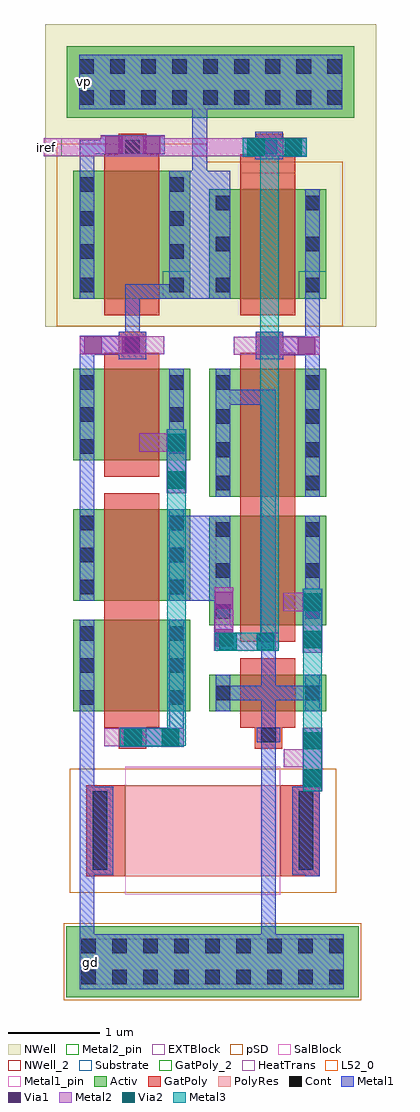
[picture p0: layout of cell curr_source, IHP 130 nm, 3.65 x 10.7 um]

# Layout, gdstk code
from math import pi, radians
import gdstk
lib = gdstk.Library(unit=1e-6, precision=1e-09)
def R(c, l, rs):  # rectangles x0, y0, x1, y1
    for r in rs: c.add(gdstk.rectangle(r[:2], r[2:], *l))
def A(c, l, x, y, w, h, nx, ny, dx, dy):  # array of equal rectangles
    R(c, l, [(x+i*dx, y+j*dy, x+i*dx+w, y+j*dy+h) for i in range(nx) for j in range(ny)])
Activ = (1, 0)
GatPoly = (5, 0)
GatPoly_2 = (5, 2)
Cont = (6, 0)
Metal1 = (8, 0)
Metal1_pin = (8, 2)
Metal2 = (10, 0)
Metal2_pin = (10, 2)
pSD = (14, 0)
Via1 = (19, 0)
SalBlock = (28, 0)
Via2 = (29, 0)
Metal3 = (30, 0)
NWell = (31, 0)
NWell_2 = (31, 2)
Substrate = (40, 0)
HeatTrans = (51, 0)
L52_0 = (52, 0)
EXTBlock = (111, 0)
PolyRes = (128, 0)

via_16 = lib.new_cell('Via$16')
R(via_16, Metal2, [(-0.35,-0.1,0.35,0.1)])
R(via_16, Via2, [(-0.3,-0.095,-0.11,0.095), (0.11,-0.095,0.3,0.095)])
R(via_16, Metal3, [(-0.35,-0.1,0.35,0.1)])

via_17 = lib.new_cell('Via$17')
R(via_17, Metal1, [(-0.35,-0.105,0.35,0.105)])
R(via_17, Metal2, [(-0.35,-0.1,0.35,0.1)])
R(via_17, Via1, [(-0.3,-0.095,-0.11,0.095), (0.11,-0.095,0.3,0.095)])

nmos_6 = lib.new_cell('nmos$6')
R(nmos_6, Activ, [(0,0,0.3,0.3), (0,0,1.28,1.2), (0.98,0,1.28,0.3)])
R(nmos_6, GatPoly, [(0.34,-0.18,0.94,1.38)])
R(nmos_6, GatPoly_2, [(0.34,-0.18,0.94,1.38)])
A(nmos_6, Cont, 0.07, 0.07, 0.16, 0.16, 1, 3, 0, 0.45)
A(nmos_6, Cont, 1.05, 0.07, 0.16, 0.16, 1, 3, 0, 0.45)
R(nmos_6, Metal1, [(0.07,0,0.23,1.2), (1.05,0,1.21,1.2)])
R(nmos_6, Metal1_pin, [(0.07,0,0.23,1.2), (1.05,0,1.21,1.2)])
R(nmos_6, HeatTrans, [(0.34,-0.18,0.94,1.38)])
nmos_6.add(gdstk.Label('nmos', (0.64,0.6), layer=63, texttype=0))
nmos_6.add(gdstk.Label('nmos', (0.64,0.6), layer=51, texttype=0))

via_18 = lib.new_cell('Via$18')
R(via_18, Metal1, [(-0.35,-0.105,0.35,0.105)])
R(via_18, Metal2, [(-0.35,-0.1,0.35,0.1)])
R(via_18, Via1, [(-0.3,-0.095,-0.11,0.095), (0.11,-0.095,0.3,0.095)])

via_19 = lib.new_cell('Via$19')
R(via_19, Metal1, [(-0.35,-0.105,0.35,0.105)])
R(via_19, Metal2, [(-0.35,-0.1,0.35,0.1)])
R(via_19, Via1, [(-0.3,-0.095,-0.11,0.095), (0.11,-0.095,0.3,0.095)])

pmos_1 = lib.new_cell('pmos$1')
R(pmos_1, Activ, [(0,0,0.3,0.3), (0,0,1.28,1.4), (0.98,0,1.28,0.3)])
R(pmos_1, GatPoly, [(0.34,-0.18,0.94,1.58), (0.34,-0.18,0.94,1.58)])
A(pmos_1, Cont, 0.07, 0.07, 0.16, 0.16, 1, 3, 0, 0.365)
A(pmos_1, Cont, 1.05, 0.07, 0.16, 0.16, 1, 3, 0, 0.365)
R(pmos_1, Cont, [(0.07,1.17,0.23,1.33), (1.05,1.17,1.21,1.33)])
R(pmos_1, Metal1, [(0.07,0,0.23,1.4), (0.07,0,0.23,1.4), (1.05,0,1.21,1.4), (1.05,0,1.21,1.4)])
R(pmos_1, pSD, [(-0.18,-0.3,1.46,1.7)])
R(pmos_1, NWell, [(-0.31,-0.31,1.59,1.71)])
R(pmos_1, Substrate, [(0.98,0,1.28,0.3)])
R(pmos_1, HeatTrans, [(0.34,-0.18,0.94,1.58)])
pmos_1.add(gdstk.Label('pmos', (0.64,0.7), layer=63, texttype=0))
pmos_1.add(gdstk.Label('pmos', (0.64,0.7), layer=51, texttype=0))

via_11 = lib.new_cell('Via$11')
R(via_11, Metal1, [(-0.35,-0.105,0.35,0.105)])
R(via_11, Metal2, [(-0.35,-0.1,0.35,0.1)])
R(via_11, Via1, [(-0.3,-0.095,-0.11,0.095), (0.11,-0.095,0.3,0.095)])

nmos_1 = lib.new_cell('nmos$1')
R(nmos_1, Activ, [(0,0,0.3,0.3), (0,0,1.28,1), (0.98,0,1.28,0.3)])
R(nmos_1, GatPoly, [(0.34,-0.18,0.94,1.18)])
R(nmos_1, GatPoly_2, [(0.34,-0.18,0.94,1.18)])
A(nmos_1, Cont, 0.07, 0.07, 0.16, 0.16, 1, 3, 0, 0.35)
A(nmos_1, Cont, 1.05, 0.07, 0.16, 0.16, 1, 3, 0, 0.35)
R(nmos_1, Metal1, [(0.07,0,0.23,1), (1.05,0,1.21,1)])
R(nmos_1, Metal1_pin, [(0.07,0,0.23,1), (1.05,0,1.21,1)])
R(nmos_1, HeatTrans, [(0.34,-0.18,0.94,1.18)])
nmos_1.add(gdstk.Label('nmos', (0.64,0.5), layer=63, texttype=0))
nmos_1.add(gdstk.Label('nmos', (0.64,0.5), layer=51, texttype=0))

via_14 = lib.new_cell('Via$14')
R(via_14, Metal2, [(-0.35,-0.1,0.35,0.1)])
R(via_14, Via2, [(-0.3,-0.095,-0.11,0.095), (0.11,-0.095,0.3,0.095)])
R(via_14, Metal3, [(-0.35,-0.1,0.35,0.1)])

via_21 = lib.new_cell('Via$21')
R(via_21, Metal1, [(-0.35,-0.105,0.35,0.105)])
R(via_21, Metal2, [(-0.35,-0.1,0.35,0.1)])
R(via_21, Via1, [(-0.3,-0.095,-0.11,0.095), (0.11,-0.095,0.3,0.095)])

pmos_3 = lib.new_cell('pmos$3')
R(pmos_3, Activ, [(0,0,0.3,0.3), (0,0,1.28,1.2), (0.98,0,1.28,0.3)])
R(pmos_3, GatPoly, [(0.34,-0.18,0.94,1.38), (0.34,-0.18,0.94,1.38)])
A(pmos_3, Cont, 0.07, 0.07, 0.16, 0.16, 1, 3, 0, 0.45)
A(pmos_3, Cont, 1.05, 0.07, 0.16, 0.16, 1, 3, 0, 0.45)
R(pmos_3, Metal1, [(0.07,0,0.23,1.2), (0.07,0,0.23,1.2), (1.05,0,1.21,1.2), (1.05,0,1.21,1.2)])
R(pmos_3, pSD, [(-0.18,-0.3,1.46,1.5)])
R(pmos_3, NWell, [(-0.31,-0.31,1.59,1.51)])
R(pmos_3, Substrate, [(0.98,0,1.28,0.3)])
R(pmos_3, HeatTrans, [(0.34,-0.18,0.94,1.38)])
pmos_3.add(gdstk.Label('pmos', (0.64,0.6), layer=63, texttype=0))
pmos_3.add(gdstk.Label('pmos', (0.64,0.6), layer=51, texttype=0))

ptap1_1 = lib.new_cell('ptap1$1')
R(ptap1_1, Activ, [(0,0,3.2,0.78)])
A(ptap1_1, Cont, 0.16, 0.14, 0.16, 0.16, 9, 2, 0.34, 0.34)
R(ptap1_1, Metal1, [(0.16,0.09,3.04,0.69), (0.16,0.14,3.04,0.64)])
R(ptap1_1, Metal1_pin, [(0.16,0.14,3.04,0.64)])
R(ptap1_1, pSD, [(-0.03,-0.03,3.23,0.81)])
R(ptap1_1, Substrate, [(0,0,3.2,0.78)])
ptap1_1.add(gdstk.Label('sub!', (1.6,0.01), layer=63, texttype=0))
ptap1_1.add(gdstk.Label('sub!', (1.6,0.01), layer=40, texttype=0))

nmos_2 = lib.new_cell('nmos$2')
R(nmos_2, Activ, [(0,0,0.3,0.3), (0,0,1.28,1.4), (0.98,0,1.28,0.3)])
R(nmos_2, GatPoly, [(0.34,-0.18,0.94,1.58)])
R(nmos_2, GatPoly_2, [(0.34,-0.18,0.94,1.58)])
A(nmos_2, Cont, 0.07, 0.07, 0.16, 0.16, 1, 3, 0, 0.365)
A(nmos_2, Cont, 1.05, 0.07, 0.16, 0.16, 1, 3, 0, 0.365)
R(nmos_2, Cont, [(0.07,1.17,0.23,1.33), (1.05,1.17,1.21,1.33)])
R(nmos_2, Metal1, [(0.07,0,0.23,1.4), (1.05,0,1.21,1.4)])
R(nmos_2, Metal1_pin, [(0.07,0,0.23,1.4), (1.05,0,1.21,1.4)])
R(nmos_2, HeatTrans, [(0.34,-0.18,0.94,1.58)])
nmos_2.add(gdstk.Label('nmos', (0.64,0.7), layer=63, texttype=0))
nmos_2.add(gdstk.Label('nmos', (0.64,0.7), layer=51, texttype=0))

via_12 = lib.new_cell('Via$12')
R(via_12, Metal1, [(-0.35,-0.105,0.35,0.105)])
R(via_12, Metal2, [(-0.35,-0.1,0.35,0.1)])
R(via_12, Via1, [(-0.3,-0.095,-0.11,0.095), (0.11,-0.095,0.3,0.095)])

via_2 = lib.new_cell('Via$2')
R(via_2, GatPoly, [(-0.15,-0.15,0.15,0.15)])
R(via_2, Cont, [(-0.08,-0.08,0.08,0.08)])
R(via_2, Metal1, [(-0.13,-0.08,0.13,0.08)])

nmos_3 = lib.new_cell('nmos$3')
R(nmos_3, Activ, [(0,0,0.3,0.3), (0,0,1.28,0.4), (0.98,0,1.28,0.3)])
R(nmos_3, GatPoly, [(0.34,-0.18,0.94,0.58)])
R(nmos_3, GatPoly_2, [(0.34,-0.18,0.94,0.58)])
R(nmos_3, Cont, [(0.07,0.12,0.23,0.28), (1.05,0.12,1.21,0.28)])
R(nmos_3, Metal1, [(0.07,0,0.23,0.4), (1.05,0,1.21,0.4)])
R(nmos_3, Metal1_pin, [(0.07,0,0.23,0.4), (1.05,0,1.21,0.4)])
R(nmos_3, HeatTrans, [(0.34,-0.18,0.94,0.58)])
nmos_3.add(gdstk.Label('nmos', (0.64,0.2), layer=63, texttype=0))
nmos_3.add(gdstk.Label('nmos', (0.64,0.2), layer=51, texttype=0))

via_15 = lib.new_cell('Via$15')
R(via_15, Metal1, [(-0.35,-0.105,0.35,0.105)])
R(via_15, Metal2, [(-0.35,-0.1,0.35,0.1)])
R(via_15, Via1, [(-0.3,-0.095,-0.11,0.095), (0.11,-0.095,0.3,0.095)])

rppd_1 = lib.new_cell('rppd$1')
R(rppd_1, GatPoly, [(0,-0.43,1,-0.2), (0,-0.2,1,0), (0,1.7,1,1.9), (0,1.9,1,2.13)])
R(rppd_1, Cont, [(0.07,-0.36,0.93,-0.2), (0.07,1.9,0.93,2.06)])
R(rppd_1, Metal1, [(0.02,-0.43,0.98,-0.13), (0.02,1.83,0.98,2.13)])
R(rppd_1, Metal1_pin, [(0.02,-0.43,0.98,-0.13), (0.02,1.83,0.98,2.13)])
R(rppd_1, pSD, [(-0.18,-0.61,1.18,0), (-0.18,0,1.18,1.7), (-0.18,1.7,1.18,2.31)])
R(rppd_1, SalBlock, [(-0.2,0,1.2,1.7)])
R(rppd_1, L52_0, [(0,0,1,1.7)])
R(rppd_1, EXTBlock, [(-0.18,-0.61,1.18,0), (-0.2,0,1.2,1.7), (-0.18,1.7,1.18,2.31)])
R(rppd_1, PolyRes, [(0,0,1,1.7)])
rppd_1.add(gdstk.Label('rppd r=509.364', (0.5,0.85), layer=63, texttype=0))
rppd_1.add(gdstk.Label('rppd', (0.5,0.85), layer=52, texttype=0))

ntap1_1 = lib.new_cell('ntap1$1')
R(ntap1_1, Activ, [(0,0,3.15,0.78)])
A(ntap1_1, Cont, 0.135, 0.14, 0.16, 0.16, 9, 2, 0.34, 0.34)
R(ntap1_1, Metal1, [(0.135,0.09,3.015,0.69)])
R(ntap1_1, Metal1_pin, [(0.135,0.09,3.015,0.69), (0.135,0.14,3.015,0.64)])
R(ntap1_1, NWell, [(-0.24,-0.24,3.39,1.02), (0,0,3.15,0.78)])
R(ntap1_1, NWell_2, [(0,0,3.15,0.78)])
ntap1_1.add(gdstk.Label('well', (1.575,0.01), layer=63, texttype=0))
ntap1_1.add(gdstk.Label('well', (1.575,0.01), layer=31, texttype=0))

via_20 = lib.new_cell('Via$20')
R(via_20, Metal1, [(-0.35,-0.105,0.35,0.105)])
R(via_20, Metal2, [(-0.35,-0.1,0.35,0.1)])
R(via_20, Via1, [(-0.3,-0.095,-0.11,0.095), (0.11,-0.095,0.3,0.095)])

curr_source = lib.new_cell('curr_source')
R(curr_source, GatPoly, [(3.695,6.615,4.295,6.815)])
R(curr_source, Metal1, [(1.935,-1.07,2.305,-0.115), (2.915,1.925,3.585,2.855), (2.365,4.57,2.665,4.87), (3.865,4.57,4.165,4.87), (2.915,5.235,3.585,6.635), (3.86,6.765,4.16,7.065)])
R(curr_source, Metal1_pin, [(1.95,-2.14,2.15,-1.94), (1.95,7.545,2.08,7.675)])
R(curr_source, Metal2, [(3.41,1.375,3.65,1.575)])
R(curr_source, Metal2_pin, [(1.54,6.795,1.74,6.995)])
R(curr_source, NWell, [(1.555,4.925,5.185,8.245)])
curr_source.add(gdstk.FlexPath([(4.485,1.88),(4.485,1.705)], 0.16, ends="flush", simple_path=True, layer=8, datatype=0))  # Metal1
curr_source.add(gdstk.FlexPath([(2.365,6.92),(2.515,6.92)], 0.16, ends="flush", simple_path=True, layer=8, datatype=0))  # Metal1
curr_source.add(gdstk.FlexPath([(4.07,6.895),(4.07,6.895)], 0.16, ends="flush", simple_path=True, layer=8, datatype=0))  # Metal1
curr_source.add(gdstk.FlexPath([(2.725,0.43),(2.725,0.43)], 0.16, ends="flush", simple_path=True, layer=8, datatype=0))  # Metal1
curr_source.add(gdstk.FlexPath([(2.015,-1.53),(2.015,-2.33)], 0.16, ends="flush", simple_path=True, layer=8, datatype=0))  # Metal1
curr_source.add(gdstk.FlexPath([(4.005,-1.68),(4.005,-2.33)], 0.16, ends="flush", simple_path=True, layer=8, datatype=0))  # Metal1
curr_source.add(gdstk.FlexPath([(4.485,0.335),(4.485,-1.095)], 0.16, ends="flush", simple_path=True, layer=8, datatype=0))  # Metal1
curr_source.add(gdstk.FlexPath([(3.995,0.915),(3.585,0.915),(3.585,0.915)], 0.16, ends="flush", simple_path=True, layer=8, datatype=0))  # Metal1
curr_source.add(gdstk.FlexPath([(3.995,0.915),(4.405,0.915)], 0.16, ends="flush", simple_path=True, layer=8, datatype=0))  # Metal1
curr_source.add(gdstk.FlexPath([(2.015,2.925),(2.015,3.465)], 0.16, ends="flush", simple_path=True, layer=8, datatype=0))  # Metal1
curr_source.add(gdstk.FlexPath([(4.005,-0.815),(4.005,-1.775)], 0.16, ends="flush", simple_path=True, layer=8, datatype=0))  # Metal1
curr_source.add(gdstk.FlexPath([(2.015,4.465),(2.015,4.62)], 0.16, ends="flush", simple_path=True, layer=8, datatype=0))  # Metal1
curr_source.add(gdstk.FlexPath([(2.645,0.455),(3.075,0.455)], 0.16, ends="flush", simple_path=True, layer=8, datatype=0))  # Metal1
curr_source.add(gdstk.FlexPath([(3.25,6.635),(3.25,7.315)], 0.16, ends="flush", simple_path=True, layer=8, datatype=0))  # Metal1
curr_source.add(gdstk.FlexPath([(2.995,0.715),(2.995,0.375)], 0.16, ends="flush", simple_path=True, layer=8, datatype=0))  # Metal1
curr_source.add(gdstk.FlexPath([(4.485,4.72),(4.485,4.72)], 0.16, ends="flush", simple_path=True, layer=8, datatype=0))  # Metal1
curr_source.add(gdstk.FlexPath([(2.515,4.725),(2.515,4.725)], 0.16, ends="flush", simple_path=True, layer=8, datatype=0))  # Metal1
curr_source.add(gdstk.FlexPath([(2.015,6.635),(2.015,6.885),(2.015,6.89),(2.015,6.895),(2.385,6.895),(2.385,6.895),(2.385,6.895)], 0.16, ends="flush", simple_path=True, layer=8, datatype=0))  # Metal1
curr_source.add(gdstk.FlexPath([(2.515,5.15),(2.515,5.395)], 0.16, ends="flush", simple_path=True, layer=8, datatype=0))  # Metal1
curr_source.add(gdstk.FlexPath([(4.485,5.235),(4.485,4.48)], 0.16, ends="flush", simple_path=True, layer=8, datatype=0))  # Metal1
curr_source.add(gdstk.FlexPath([(4.485,4.49),(4.485,4.465)], 0.16, ends="flush", simple_path=True, layer=8, datatype=0))  # Metal1
curr_source.add(gdstk.FlexPath([(2.515,4.805),(2.515,5.2)], 0.16, ends="flush", simple_path=True, layer=8, datatype=0))  # Metal1
curr_source.add(gdstk.FlexPath([(3.575,4.155),(4.005,4.155),(4.005,-0.965)], 0.16, ends="flush", simple_path=True, layer=8, datatype=0))  # Metal1
curr_source.add(gdstk.FlexPath([(2.015,0.715),(2.015,-1.725),(2.015,-1.725)], 0.16, ends="flush", simple_path=True, layer=8, datatype=0))  # Metal1
curr_source.add(gdstk.FlexPath([(2.915,5.315),(2.435,5.315)], 0.16, ends="flush", simple_path=True, layer=8, datatype=0))  # Metal1
curr_source.add(gdstk.FlexPath([(3.505,1.655),(3.505,1.575)], 0.16, ends="flush", simple_path=True, layer=8, datatype=0))  # Metal1
curr_source.add(gdstk.FlexPath([(2.995,3.455),(2.995,3.455)], 0.2, ends="flush", simple_path=True, layer=10, datatype=0))  # Metal2
curr_source.add(gdstk.FlexPath([(2.995,3.66),(2.585,3.66)], 0.2, ends="flush", simple_path=True, layer=10, datatype=0))  # Metal2
curr_source.add(gdstk.FlexPath([(4.565,4.72),(3.625,4.72)], 0.2, ends="flush", simple_path=True, layer=10, datatype=0))  # Metal2
curr_source.add(gdstk.FlexPath([(4.485,1.705),(4.485,1.705)], 0.2, ends="flush", simple_path=True, layer=10, datatype=0))  # Metal2
curr_source.add(gdstk.FlexPath([(4.485,0.185),(4.485,0.185)], 0.2, ends="flush", simple_path=True, layer=10, datatype=0))  # Metal2
curr_source.add(gdstk.FlexPath([(4.485,0.2),(4.17,0.2)], 0.2, ends="flush", simple_path=True, layer=10, datatype=0))  # Metal2
curr_source.add(gdstk.FlexPath([(4.485,1.91),(4.165,1.91)], 0.2, ends="flush", simple_path=True, layer=10, datatype=0))  # Metal2
curr_source.add(gdstk.FlexPath([(4.07,6.895),(4.07,6.895)], 0.16, ends="flush", simple_path=True, layer=10, datatype=0))  # Metal2
curr_source.add(gdstk.FlexPath([(2.725,0.43),(2.725,0.43)], 0.2, ends="flush", simple_path=True, layer=10, datatype=0))  # Metal2
curr_source.add(gdstk.FlexPath([(3.065,0.43),(2.205,0.43)], 0.2, ends="flush", simple_path=True, layer=10, datatype=0))  # Metal2
curr_source.add(gdstk.FlexPath([(2.515,4.725),(2.86,4.725)], 0.2, ends="flush", simple_path=True, layer=10, datatype=0))  # Metal2
curr_source.add(gdstk.FlexPath([(4.015,1.475),(3.65,1.475)], 0.2, ends="flush", simple_path=True, layer=10, datatype=0))  # Metal2
curr_source.add(gdstk.FlexPath([(2.515,6.895),(1.54,6.895)], 0.2, ends="flush", simple_path=True, layer=10, datatype=0))  # Metal2
curr_source.add(gdstk.FlexPath([(2.515,6.895),(4.015,6.895)], 0.2, ends="flush", simple_path=True, layer=10, datatype=0))  # Metal2
curr_source.add(gdstk.FlexPath([(2.995,3.535),(2.995,0.335)], 0.2, ends="flush", simple_path=True, layer=30, datatype=0))  # Metal3
curr_source.add(gdstk.FlexPath([(4.485,1.48),(4.485,0.335)], 0.2, ends="flush", simple_path=True, layer=30, datatype=0))  # Metal3
curr_source.add(gdstk.FlexPath([(4.015,1.58),(4.015,1.475)], 0.2, ends="flush", simple_path=True, layer=30, datatype=0))  # Metal3
curr_source.add(gdstk.FlexPath([(4.015,6.895),(4.015,1.58)], 0.2, ends="flush", simple_path=True, layer=30, datatype=0))  # Metal3
curr_source.add(gdstk.Reference(via_16, (2.725,0.43)))
curr_source.add(gdstk.Reference(via_16, (4.07,6.895)))
curr_source.add(gdstk.Reference(via_17, (4.07,6.895)))
curr_source.add(gdstk.Reference(nmos_6, (3.355,1.655)))
curr_source.add(gdstk.Reference(via_18, (2.515,6.92)))
curr_source.add(gdstk.Reference(via_19, (2.725,0.43)))
curr_source.add(gdstk.Reference(pmos_1, (1.865,5.235)))
curr_source.add(gdstk.Reference(via_11, (4.215,4.72)))
curr_source.add(gdstk.Reference(nmos_1, (1.865,1.925)))
curr_source.add(gdstk.Reference(via_14, (3.765,1.475)))
curr_source.add(gdstk.Reference(via_21, (2.285,4.725)))
curr_source.add(gdstk.Reference(pmos_3, (3.355,5.235)))
curr_source.add(gdstk.Reference(ptap1_1, (1.79,-2.42)))
curr_source.add(gdstk.Reference(nmos_2, (3.355,3.065)))
curr_source.add(gdstk.Reference(via_12, (3.515,1.725), rotation=3*pi/2))
curr_source.add(gdstk.Reference(nmos_1, (1.865,0.715)))
curr_source.add(gdstk.Reference(nmos_1, (1.865,3.465)))
curr_source.add(gdstk.Reference(via_2, (2.515,0.455)))
curr_source.add(gdstk.Reference(via_2, (2.515,4.725)))
curr_source.add(gdstk.Reference(via_2, (4.015,4.725)))
curr_source.add(gdstk.Reference(via_2, (2.515,6.895)))
curr_source.add(gdstk.Reference(via_2, (4.015,6.895)))
curr_source.add(gdstk.Reference(nmos_3, (3.355,0.715)))
curr_source.add(gdstk.Reference(via_2, (4.005,0.455)))
curr_source.add(gdstk.Reference(via_15, (4.485,1.705), rotation=3*pi/2))
curr_source.add(gdstk.Reference(via_16, (4.485,1.705), rotation=3*pi/2))
curr_source.add(gdstk.Reference(via_16, (4.485,0.185), rotation=3*pi/2))
curr_source.add(gdstk.Reference(via_15, (4.485,0.185), rotation=3*pi/2))
curr_source.add(gdstk.Reference(rppd_1, (2.435,-0.095), rotation=3*pi/2))
curr_source.add(gdstk.Reference(ntap1_1, (1.795,7.22)))
curr_source.add(gdstk.Reference(via_20, (2.995,3.455), rotation=3*pi/2))
curr_source.add(gdstk.Reference(via_16, (2.995,3.455), rotation=3*pi/2))
curr_source.add(gdstk.Label('gd', (2.05,-2.04), layer=8, texttype=25))
curr_source.add(gdstk.Label('vp', (1.99,7.61), layer=8, texttype=25))
curr_source.add(gdstk.Label('iref', (1.567,6.897), layer=10, texttype=25))

lib.write_gds('curr_source.gds')
